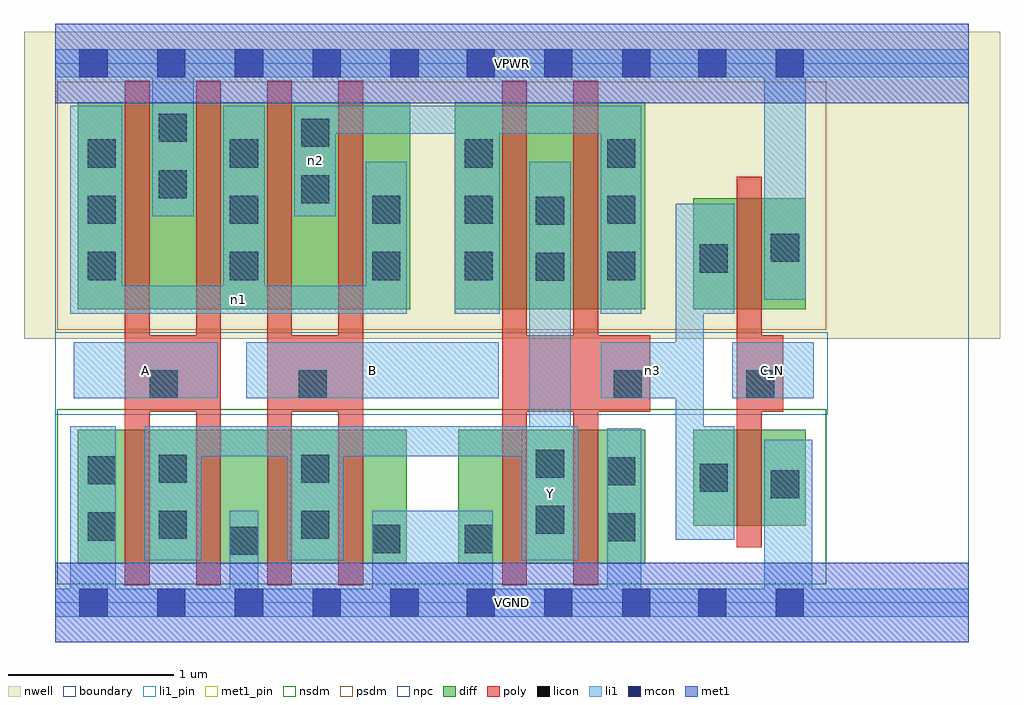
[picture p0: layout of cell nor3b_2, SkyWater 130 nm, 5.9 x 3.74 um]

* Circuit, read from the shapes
.subckt nor3b_2 A B C_N VGND VPWR Y n1 n2 n3
XM1 Y A VGND VSUBS sky130_fd_pr__nfet_01v8 w=0.81 l=0.15 m=2
XM2 Y B VGND VSUBS sky130_fd_pr__nfet_01v8 w=0.81 l=0.15 m=2
XM3 Y n3 VGND VSUBS sky130_fd_pr__nfet_01v8 w=0.81 l=0.15 m=2
XM4 VGND C_N n3 VSUBS sky130_fd_pr__nfet_01v8 w=0.58 l=0.15
XM5 VPWR A n1 n4 sky130_fd_pr__pfet_01v8 w=1.25 l=0.15 m=2
XM6 n2 B n1 n4 sky130_fd_pr__pfet_01v8 w=1.25 l=0.15 m=2
XM7 Y n3 n2 n4 sky130_fd_pr__pfet_01v8 w=1.25 l=0.15 m=2
XM8 VPWR C_N n3 n4 sky130_fd_pr__pfet_01v8 w=0.67 l=0.15
.ends

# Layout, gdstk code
import gdstk
lib = gdstk.Library(unit=1e-6, precision=1e-09)
def R(c, l, rs):  # rectangles x0, y0, x1, y1
    for r in rs: c.add(gdstk.rectangle(r[:2], r[2:], *l))
def A(c, l, x, y, w, h, nx, ny, dx, dy):  # array of equal rectangles
    R(c, l, [(x+i*dx, y+j*dy, x+i*dx+w, y+j*dy+h) for i in range(nx) for j in range(ny)])
nwell = (64, 20)
diff = (65, 20)
poly = (66, 20)
licon = (66, 44)
li1_pin = (67, 16)
li1 = (67, 20)
mcon = (67, 44)
met1_pin = (68, 16)
met1 = (68, 20)
nsdm = (93, 44)
psdm = (94, 20)
npc = (95, 20)
boundary = (235, 4)

nor3b_2 = lib.new_cell('nor3b_2')
R(nor3b_2, nwell, [(-0.19,1.595,5.71,3.45), (0,1.595,5.52,3.45)])
R(nor3b_2, diff, [(0.135,0.235,2.125,1.045), (2.435,0.235,3.565,1.045), (3.855,0.465,4.535,1.045), (0.135,1.775,2.145,3.025), (2.415,1.775,3.565,3.025), (3.855,1.775,4.535,2.445)])
A(nor3b_2, poly, 0.42, 0.105, 0.15, 3.05, 4, 1, 0.43, 0)
R(nor3b_2, poly, [(2.7,0.105,2.85,3.155), (3.13,0.105,3.28,3.155), (4.12,0.335,4.27,2.575), (0.42,1.155,1,1.615), (1.28,1.155,1.86,1.615), (2.7,1.155,3.595,1.615), (4.12,1.155,4.4,1.615)])
A(nor3b_2, licon, 0.195, 1.95, 0.17, 0.17, 3, 2, 0.86, 0.34)
A(nor3b_2, licon, 2.475, 1.95, 0.17, 0.17, 1, 3, 0, 0.34)
A(nor3b_2, licon, 3.335, 1.95, 0.17, 0.17, 1, 3, 0, 0.34)
R(nor3b_2, licon, [(1.055,0.29,1.225,0.46), (1.915,0.3,2.085,0.47), (2.475,0.3,2.645,0.47), (3.335,0.37,3.505,0.54), (0.195,0.375,0.365,0.545), (0.625,0.385,0.795,0.555), (1.485,0.385,1.655,0.555), (2.905,0.415,3.075,0.585), (4.325,0.63,4.495,0.8), (3.895,0.67,4.065,0.84), (3.335,0.71,3.505,0.88), (0.195,0.715,0.365,0.885), (0.625,0.725,0.795,0.895), (1.485,0.725,1.655,0.895), (2.905,0.755,3.075,0.925), (0.57,1.235,0.74,1.405), (1.47,1.235,1.64,1.405), (3.375,1.235,3.545,1.405), (4.175,1.235,4.345,1.405), (2.905,1.945,3.075,2.115), (3.895,1.995,4.065,2.165), (4.325,2.06,4.495,2.23), (2.905,2.285,3.075,2.455), (1.485,2.415,1.655,2.585), (0.625,2.445,0.795,2.615), (0.195,2.63,0.365,2.8), (1.055,2.63,1.225,2.8), (1.485,2.755,1.655,2.925), (0.625,2.785,0.795,2.955)])
R(nor3b_2, li1_pin, [(2.82,0.255,3.16,1.065), (0.11,1.235,0.98,1.575), (1.155,1.235,2.68,1.575), (4.09,1.235,4.585,1.575)])
R(nor3b_2, li1, [(0,-0.085,5.52,0.085), (0.09,-0.085,0.365,1.065), (1.055,-0.085,1.225,0.555), (1.915,-0.085,2.645,0.555), (3.335,-0.085,3.54,1.055), (4.285,-0.085,4.575,0.985), (0.54,0.255,0.88,1.065), (1.4,0.255,1.74,1.065), (2.82,0.255,3.16,1.065), (2.865,0.255,3.115,2.665), (3.75,0.38,3.92,2.41), (3.75,0.38,4.105,1.065), (0.54,0.885,3.16,1.065), (0.11,1.235,0.98,1.575), (1.155,1.235,2.68,1.575), (3.295,1.235,3.92,1.575), (4.09,1.235,4.585,1.575), (0.09,1.745,2.125,1.915), (0.09,1.745,0.405,3.005), (1.015,1.745,1.265,3.005), (1.875,1.745,2.125,2.665), (2.415,1.745,2.685,3.005), (3.295,1.745,3.54,3.005), (3.75,1.745,4.105,2.41), (4.285,1.83,4.535,3.345), (0.585,2.335,0.835,3.345), (1.445,2.335,1.695,3.005), (1.445,2.835,3.54,3.005), (0,3.175,5.52,3.345)])
A(nor3b_2, mcon, 0.145, -0.085, 0.17, 0.17, 5, 2, 0.47, 3.26)
A(nor3b_2, mcon, 2.485, -0.085, 0.17, 0.17, 3, 2, 0.47, 3.26)
R(nor3b_2, mcon, [(3.885,-0.085,4.055,0.085), (4.355,-0.085,4.525,0.085), (3.885,3.175,4.055,3.345), (4.355,3.175,4.525,3.345)])
R(nor3b_2, met1_pin, [(0,-0.24,5.52,0.24), (0,3.02,5.52,3.5)])
R(nor3b_2, met1, [(0,-0.24,5.52,0.24), (0,3.02,5.52,3.5)])
R(nor3b_2, nsdm, [(0.01,0.11,4.66,1.17)])
R(nor3b_2, psdm, [(0.01,1.65,4.66,3.15)])
R(nor3b_2, npc, [(0,1.135,4.67,1.635)])
R(nor3b_2, boundary, [(0,0,5.52,3.26)])
nor3b_2.add(gdstk.Label('A', (0.545,1.405), layer=67, texttype=5))
nor3b_2.add(gdstk.Label('B', (1.917,1.405), layer=67, texttype=5))
nor3b_2.add(gdstk.Label('C_N', (4.337,1.405), layer=67, texttype=5))
nor3b_2.add(gdstk.Label('Y', (2.99,0.66), layer=67, texttype=5))
nor3b_2.add(gdstk.Label('n3', (3.607,1.405), layer=67, texttype=5))
nor3b_2.add(gdstk.Label('n1', (1.107,1.83), layer=67, texttype=5))
nor3b_2.add(gdstk.Label('n2', (1.57,2.67), layer=67, texttype=5))
nor3b_2.add(gdstk.Label('VPWR', (2.76,3.26), layer=68, texttype=5))
nor3b_2.add(gdstk.Label('VGND', (2.76,0), layer=68, texttype=5))
nor3b_2.add(gdstk.Label('A', (0.545,1.405), layer=67, texttype=16))
nor3b_2.add(gdstk.Label('B', (1.917,1.405), layer=67, texttype=16))
nor3b_2.add(gdstk.Label('C_N', (4.337,1.405), layer=67, texttype=16))
nor3b_2.add(gdstk.Label('Y', (2.99,0.66), layer=67, texttype=16))
nor3b_2.add(gdstk.Label('VPWR', (2.76,3.26), layer=68, texttype=16))
nor3b_2.add(gdstk.Label('VGND', (2.76,0), layer=68, texttype=16))

lib.write_gds('nor3b_2.gds')
